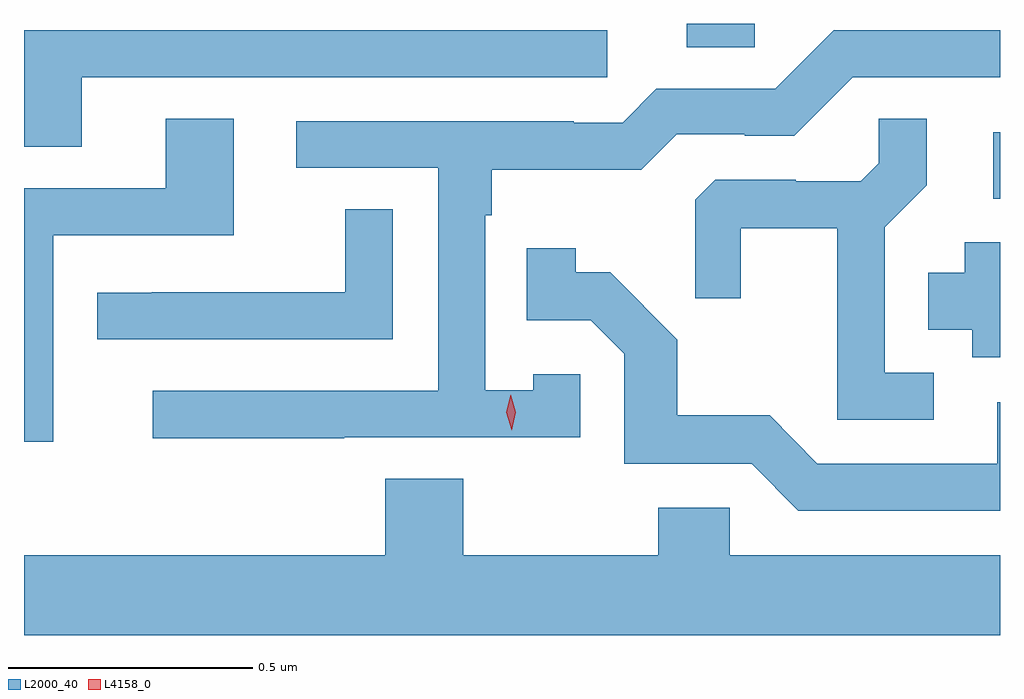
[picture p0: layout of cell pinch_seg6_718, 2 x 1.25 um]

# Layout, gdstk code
import gdstk
lib = gdstk.Library(unit=1e-6, precision=1e-09)
def R(c, l, rs):  # rectangles x0, y0, x1, y1
    for r in rs: c.add(gdstk.rectangle(r[:2], r[2:], *l))
def P(c, l, *ps):  # polygons
    for p in ps: c.add(gdstk.Polygon(p, *l))
L2000_40 = (2000, 40)
L4158_0 = (4158, 0)

pinch_seg6_718 = lib.new_cell('pinch_seg6_718')
R(pinch_seg6_718, L2000_40, [(436.221,940.239,436.235,940.375), (435.593,940.549,435.732,940.598)])
P(pinch_seg6_718, L2000_40, [(434.891,939.75),(435.375,939.75),(435.375,939.879),(435.279,939.879),(435.279,939.847),(435.18,939.847),(435.18,940.205),(435.193,940.205),(435.193,940.298),(435.5,940.298),(435.573,940.371),(435.712,940.371),(435.712,940.368),(435.813,940.368),(435.933,940.488),(436.235,940.488),(436.235,940.584),(435.894,940.584),(435.774,940.464),(435.531,940.464),(435.462,940.395),(435.362,940.395),(435.362,940.398),(434.793,940.398),(434.793,940.302),(435.084,940.302),(435.084,939.846),(434.499,939.846),(434.499,939.748),(434.891,939.748)],
  [(434.353,940.488),(435.43,940.488),(435.43,940.584),(434.235,940.584),(434.235,940.345),(434.353,940.345)],
  [(434.295,940.164),(434.665,940.164),(434.665,940.403),(434.525,940.403),(434.525,940.26),(434.235,940.26),(434.235,939.741),(434.295,939.741)],
  [(436.099,939.882),(435.999,939.882),(435.999,940.181),(436.085,940.267),(436.085,940.403),(435.987,940.403),(435.987,940.312),(435.95,940.275),(435.816,940.275),(435.816,940.278),(435.651,940.278),(435.61,940.237),(435.61,940.035),(435.704,940.035),(435.704,940.178),(435.902,940.178),(435.902,939.786),(436.099,939.786)],
  [(434.991,940.217),(434.893,940.217),(434.893,940.047),(434.497,940.047),(434.497,940.046),(434.385,940.046),(434.385,939.951),(434.991,939.951)],
  [(436.235,940.15),(436.163,940.15),(436.163,940.087),(436.088,940.087),(436.088,939.971),(436.178,939.971),(436.178,939.914),(436.235,939.914)],
  [(436.235,939.822),(436.229,939.822),(436.229,939.696),(435.861,939.696),(435.763,939.795),(435.574,939.795),(435.574,939.95),(435.436,940.088),(435.366,940.088),(435.366,940.138),(435.265,940.138),(435.265,939.99),(435.396,939.99),(435.465,939.921),(435.465,939.696),(435.726,939.696),(435.822,939.6),(436.235,939.6)],
  [(436.235,939.508),(435.681,939.508),(435.681,939.606),(435.535,939.606),(435.535,939.508),(435.135,939.508),(435.135,939.665),(434.975,939.665),(434.975,939.508),(434.235,939.508),(434.235,939.344),(436.235,939.344)])
P(pinch_seg6_718, L4158_0, [(435.234,939.765),(435.234,939.765),(435.223,939.801),(435.232,939.837),(435.232,939.837),(435.232,939.837),(435.243,939.801),(435.234,939.765)])

lib.write_gds('pinch_seg6_718.gds')
